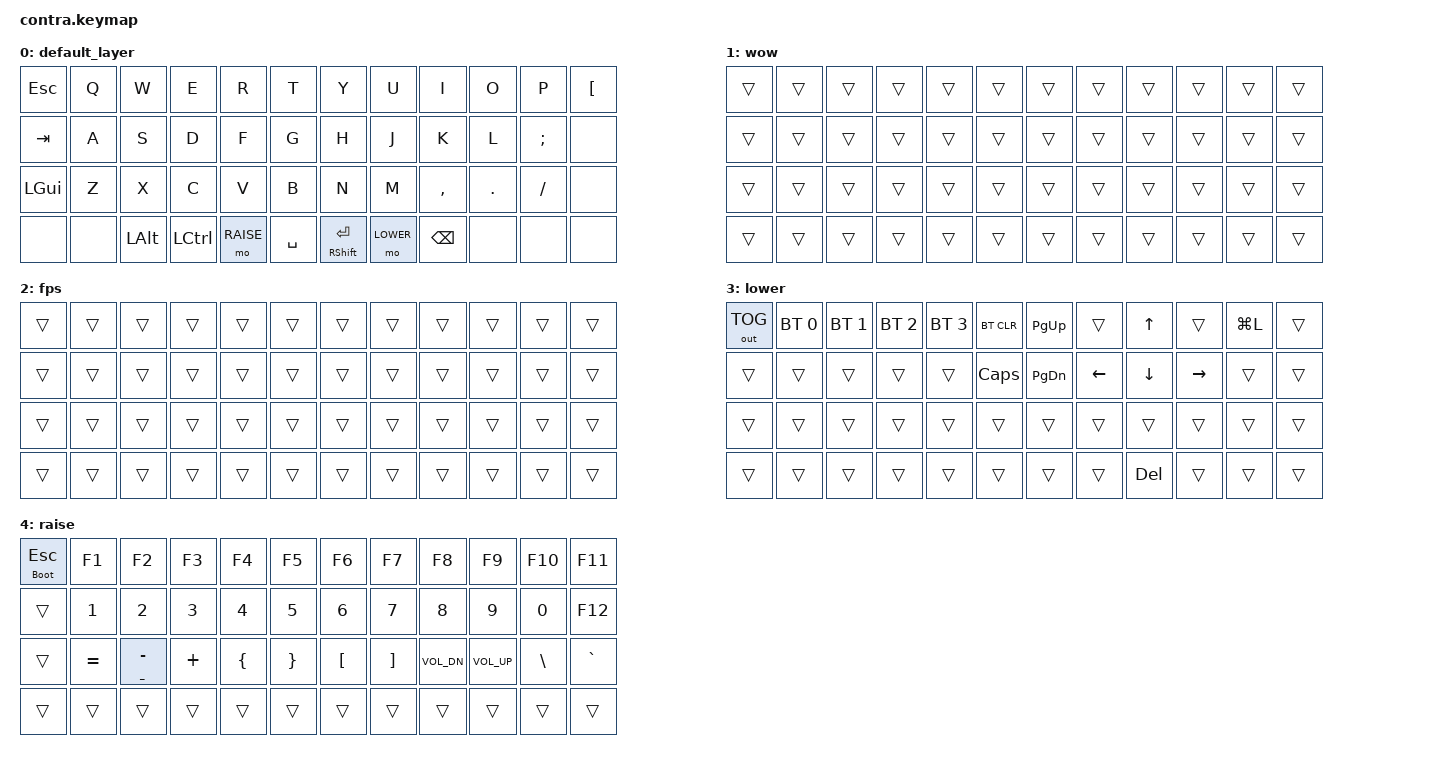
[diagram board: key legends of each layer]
/*
 * Copyright (c) 2021 The ZMK Contributors
 *
 * SPDX-License-Identifier: MIT
 */

#include <behaviors.dtsi>
#include <dt-bindings/zmk/keys.h>
#include <dt-bindings/zmk/bt.h>
#include <dt-bindings/zmk/outputs.h>

#define NONE 0
#define WOW 1
#define FPS 2
#define LOWER 3
#define RAISE 4

 &mt {
     flavor = "tap-preferred";
     tapping-term-ms = <140>;
 };

 / {
 };

 / {
    behaviors {
        mt: mod_tap {
            compatible = "zmk,behavior-hold-tap";
            #binding-cells = <2>;
            flavor = "hold-preferred";
            tapping-term-ms = <200>;
            bindings = <&kp>, <&kp>;
            display-name = "Mod-Tap";
        };

        hrm: hr {
            compatible = "zmk,behavior-hold-tap";
            label = "hrm";
            bindings = <&kp>, <&kp>;

            #binding-cells = <2>;
            tapping-term-ms = <200>;
            flavor = "balanced";
            quick-tap-ms = <150>;
        };

        boot_esc: boot_esc {
            compatible = "zmk,behavior-hold-tap";
            label = "boot_esc";
            /* hold: bootloader, tap: key */
            bindings = <&bootloader>, <&kp>;

            #binding-cells = <2>;
            tapping-term-ms = <3000>;
            flavor = "tap-preferred";
            quick-tap-ms = <150>;
        };
    };

    keymap {
        compatible = "zmk,keymap";

        default_layer {
            // --------------------------------------------------------------------------------------------------------
            // |  ESC  |  Q   |  W   |  E   |  R   |  T     |   Y       |  U    |  I      |  O    |   P      |  [     |
            // |  TAB  |  A   |  S   |  D   |  F   |  G     |   H       |  J    |  K      |  L    |   ;      |        |
            // | LSHFT |  Z   |  X   |  C   |  V   |  B     |   N       |  M    |  ,      |  .    |   /      |        |
            // | LCTRL | LGUI | LALT | LCTRL| RAISE| SPACE  | ENT/SHIFT | LOWER | BKSPACE |       |          |        |
            bindings = <
    &kp ESC   &kp Q     &kp W    &kp E     &kp R       &kp T      &kp Y             &kp U      &kp I          &kp O     &kp P    &kp LBKT
    &kp TAB   &kp A     &kp S    &kp D     &kp F       &kp G      &kp H             &kp J      &kp K          &kp L     &kp SEMI &none
    &kp LGUI  &kp Z     &kp X    &kp C     &kp V       &kp B      &kp N             &kp M      &kp COMMA      &kp DOT   &kp FSLH &none
    &none     &none     &kp LALT &kp LCTRL &mo RAISE   &kp SPACE  &mt RSHFT ENTER   &mo LOWER  &kp BACKSPACE  &none     &none    &none
            >;
        };

        wow{
            bindings = <
                &trans &trans &trans &trans &trans &trans &trans &trans &trans &trans &trans &trans
                &trans &trans &trans &trans &trans &trans &trans &trans &trans &trans &trans &trans
                &trans &trans &trans &trans &trans &trans &trans &trans &trans &trans &trans &trans
                &trans &trans &trans &trans &trans &trans &trans &trans &trans &trans &trans &trans
            >;
        };
        fps{
            bindings = <
                &trans &trans &trans &trans &trans &trans &trans &trans &trans &trans &trans &trans
                &trans &trans &trans &trans &trans &trans &trans &trans &trans &trans &trans &trans
                &trans &trans &trans &trans &trans &trans &trans &trans &trans &trans &trans &trans
                &trans &trans &trans &trans &trans &trans &trans &trans &trans &trans &trans &trans
            >;
        };

        lower {
            // ----------------------------------------------------------------------------------------------------------------------------
            // |OUT_TOG|   BT0  |  BT1   |   BT2  |   BT3  |   BT4  | P DOWN |        |  UP    |        |        |        |
            // |       |        |        |        |        |CAPSLOCK|  P UP  |  LEFT  |  DOWN  |  RIGHT |        |        |
            // |       |        |        |        |        |        |        |  HOME  |        |  END   |        |        |
            // |       |        |        |        |        |  LGUI  |        |        |        | DELETE |        |        |        |        |
            bindings = <
            &out OUT_TOG &bt BT_SEL 0  &bt BT_SEL 1 &bt BT_SEL 2 &bt BT_SEL 3 &bt BT_CLR   &kp PAGE_UP   &trans    &kp UP     &trans     &kp LG(L) &trans
            &trans       &trans        &trans       &trans       &trans       &kp CAPSLOCK &kp PAGE_DOWN &kp LEFT  &kp DOWN   &kp RIGHT  &trans    &trans
            &trans       &trans        &trans       &trans       &trans       &trans       &trans        &trans    &trans     &trans     &trans    &trans
            &trans       &trans        &trans       &trans       &trans       &trans       &trans        &trans    &kp DELETE &trans     &trans    &trans
            >;
        };

        raise {
            // ------------------------------------------------------------------------------------------------------------
            // |       |   F1   |   F2   |   F3   |   F4   |   F5   |   F6   |   F7   |   F8   |   F9   |   F10  |   F11  |
            // |       |    1   |    2   |    3   |    4   |    5   |    6   |    7   |    8   |    9   |    0   |   F12  |
            // |       |    =   |   -/_  |   +    |   {    |   }    |   [    |   ]    |  VOL+  |  VOL-  |    \   |    `   |
            // |       |        |        |   LALT |        |        |        |        |        |        |        |        |

            bindings = <
            &boot_esc 0 ESC &kp F1    &kp F2           &kp F3       &kp F4      &kp F5     &kp F6    &kp F7      &kp F8       &kp F9         &kp F10       &kp F11    
            &trans          &kp N1    &kp N2           &kp N3       &kp N4      &kp N5     &kp N6    &kp N7      &kp N8       &kp N9         &kp N0        &kp F12
            &trans          &kp EQUAL &mt UNDER MINUS  &kp PLUS     &kp LBRC    &kp RBRC   &kp LBKT  &kp RBKT    &kp C_VOL_DN &kp C_VOL_UP   &kp BACKSLASH &kp GRAVE
            &trans          &trans    &trans           &trans       &trans      &trans     &trans    &trans      &trans       &trans         &trans        &trans    
            >;
        };

    };
};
